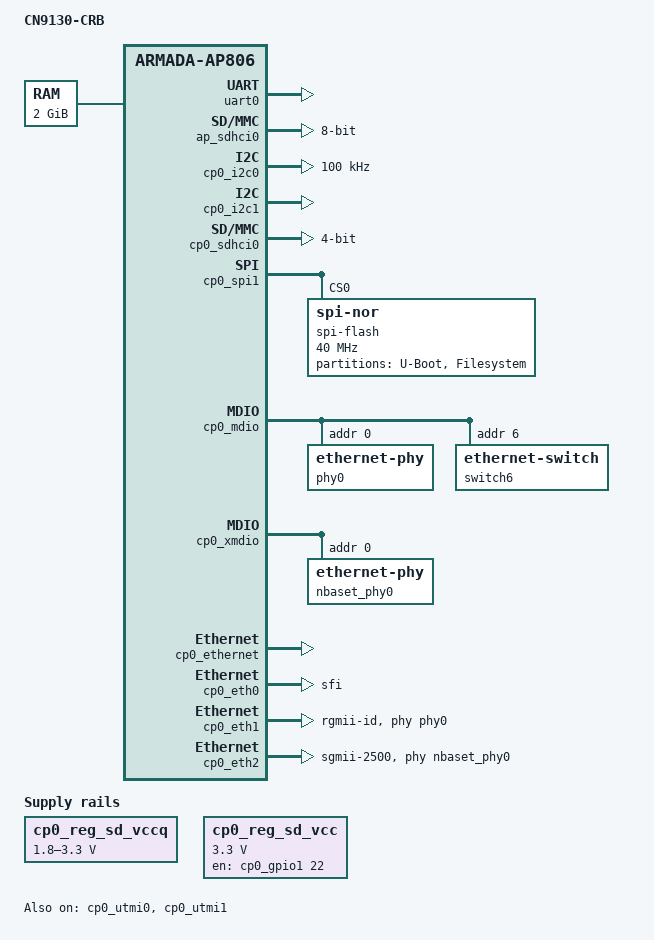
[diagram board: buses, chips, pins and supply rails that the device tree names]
// SPDX-License-Identifier: GPL-2.0+
/*
 * Copyright (C) 2019 Marvell International Ltd.
 */

#include "cn9130.dtsi" /* include SoC device tree */

/ {
	model = "CN9130-CRB";
	compatible = "marvell,cn9130-crb",
		"marvell,cn9130",
		"marvell,armada-ap806-quad",
		"marvell,armada-ap806";
	chosen {
		stdout-path = "serial0:115200n8";
	};

	aliases {
		i2c0 = &cp0_i2c0;
		spi0 = &cp0_spi1;
		gpio0 = &ap_gpio0;
		gpio1 = &cp0_gpio0;
		gpio2 = &cp0_gpio1;
	};

	memory@00000000 {
		device_type = "memory";
		reg = <0x0 0x0 0x0 0x80000000>;
	};

	cp0 {
		config-space {
			sdhci@780000 {
				vqmmc-supply = <&cp0_reg_sd_vccq>;
				vmmc-supply = <&cp0_reg_sd_vcc>;
			};
			cp0_reg_sd_vccq: cp0_sd_vccq@0 {
				compatible = "regulator-gpio";
				regulator-name = "cp0_sd_vccq";
				regulator-min-microvolt = <1800000>;
				regulator-max-microvolt = <3300000>;
				gpios = <&cp0_gpio1 18 GPIO_ACTIVE_HIGH>;
				states = <1800000 0x1
					  3300000 0x0>;
			};
			cp0_reg_sd_vcc: cp0_sd_vcc@0 {
				compatible = "regulator-fixed";
				regulator-name = "cp0_sd_vcc";
				regulator-min-microvolt = <3300000>;
				regulator-max-microvolt = <3300000>;
				gpio = <&cp0_gpio1 22 GPIO_ACTIVE_HIGH>;
				enable-active-high;
				regulator-always-on;
			};
		};
	};
};

&uart0 {
	status = "okay";
};

/*
 * AP related configuration
 */
&ap_pinctl {
	/* MPP Bus:
	 * SDIO  [0-10, 12]
	 * UART0 [11,19]
	 */
		/*   0 1 2 3 4 5 6 7 8 9 */
	pin-func = < 1 1 1 1 1 1 1 1 1 1
		     1 3 1 0 0 0 0 0 0 3 >;
};

/* on-board eMMC - U6 */
&ap_sdhci0 {
	pinctrl-names = "default";
	pinctrl-0 = <&ap_emmc_pins>;
	bus-width = <8>;
	status = "okay";
};

/*
 * CP related configuration
 */
&cp0_pinctl {
	/* MPP Bus:
	 *	[0-11]	RGMII1
	 *	[12-26]	GPIO
	 *	[27-30]	SPI1
	 *	[31]	GPIO
	 *	[32]	GPIO
	 *	[33]	SD_PWR_OFF
	 *	[34]	CP_PCIE0_CLKREQn
	 *	[35-38]	I2C1 I2C0
	 *	[39]	GPIO
	 *	[40-43]	SMI/XSMI
	 *	[44-46]	GPIO
	 *	[47]	UART1_TX
	 *	[48]	GPIO
	 *	[49]	SD_HST_18_EN
	 *	[50]	GPIO
	 *	[51]	SD_PWR_0
	 *	[52]	PCIE_RSTn
	 *	[53]	UART1_RX
	 *	[54]	GPIO
	 *	[55]	SD_DT
	 *	[56-61]	SDIO
	 */
		/*   0   1   2   3   4   5   6   7   8   9 */
	pin-func = < 3   3   3   3   3   3   3   3   3   3
		     3   3   0   0   0   0   0   0   0   0
		     0   0   0   0   0   0   0   2   2   2
		     2   0   0   6   9   2   2   2   2   0
		     8   8   8   8   0   0   0   7   0   0xa
		     0   0xa 9   7   0   0xb 0xe 0xe 0xe 0xe
		     0xe 0xe 0xe>;
};

&cp0_pinctl {
	cp0_spi1_pins_crb: cp0-spi-pins-crb {
		marvell,pins = < 27 28 29 30 >;
		marvell,function = <2>;
	};
};

/*
 * CP0
 */
&cp0_i2c0 {
	pinctrl-names = "default";
	pinctrl-0 = <&cp0_i2c0_pins>;
	status = "okay";
	clock-frequency = <100000>;
};

&cp0_i2c1 {
	status = "okay";
};

&cp0_sdhci0 {
	pinctrl-names = "default";
	pinctrl-0 = <&cp0_sdhci_pins>;
	bus-width = <4>;
	status = "okay";
};

&cp0_spi1 {
	pinctrl-names = "default";
	pinctrl-0 = <&cp0_spi1_pins_crb>;
	reg = <0x700680 0x50>,		/* control */
	      <0x2000000 0x1000000>,	/* CS0 */
	      <0 0xffffffff>,		/* CS1 */
	      <0 0xffffffff>,		/* CS2 */
	      <0 0xffffffff>;		/* CS3 */
	status = "okay";

	spi-flash@0 {
		#address-cells = <0x1>;
		#size-cells = <0x1>;
		compatible = "jedec,spi-nor", "spi-flash";
		reg = <0x0>;
		/* On-board MUX does not allow higher frequencies */
		spi-max-frequency = <40000000>;

		partitions {
			compatible = "fixed-partitions";
			#address-cells = <1>;
			#size-cells = <1>;

			partition@0 {
				label = "U-Boot";
				reg = <0x0 0x200000>;
			};

			partition@400000 {
				label = "Filesystem";
				reg = <0x200000 0xe00000>;
			};
		};
	};
};

&cp0_utmi0 {
	status = "okay";
};

&cp0_utmi1 {
	status = "okay";
};

&cp0_mdio {
	status = "okay";
	phy0: ethernet-phy@0 {
		reg = <0>;
	};
	switch6: ethernet-switch@6 {
		reg = <6>;
	};
};

&cp0_xmdio {
	status = "okay";
	nbaset_phy0: ethernet-phy@0 {
		reg = <0>;
	};
};

&cp0_ethernet {
	status = "okay";
};

&cp0_eth0 {
	status = "okay";
	phy-mode = "sfi";
};

&cp0_eth1 {
	status = "okay";
	phy = <&phy0>;
	phy-mode = "rgmii-id";
};

&cp0_eth2 {
	status = "okay";
	phy = <&nbaset_phy0>;
	phy-mode = "sgmii-2500";
};
